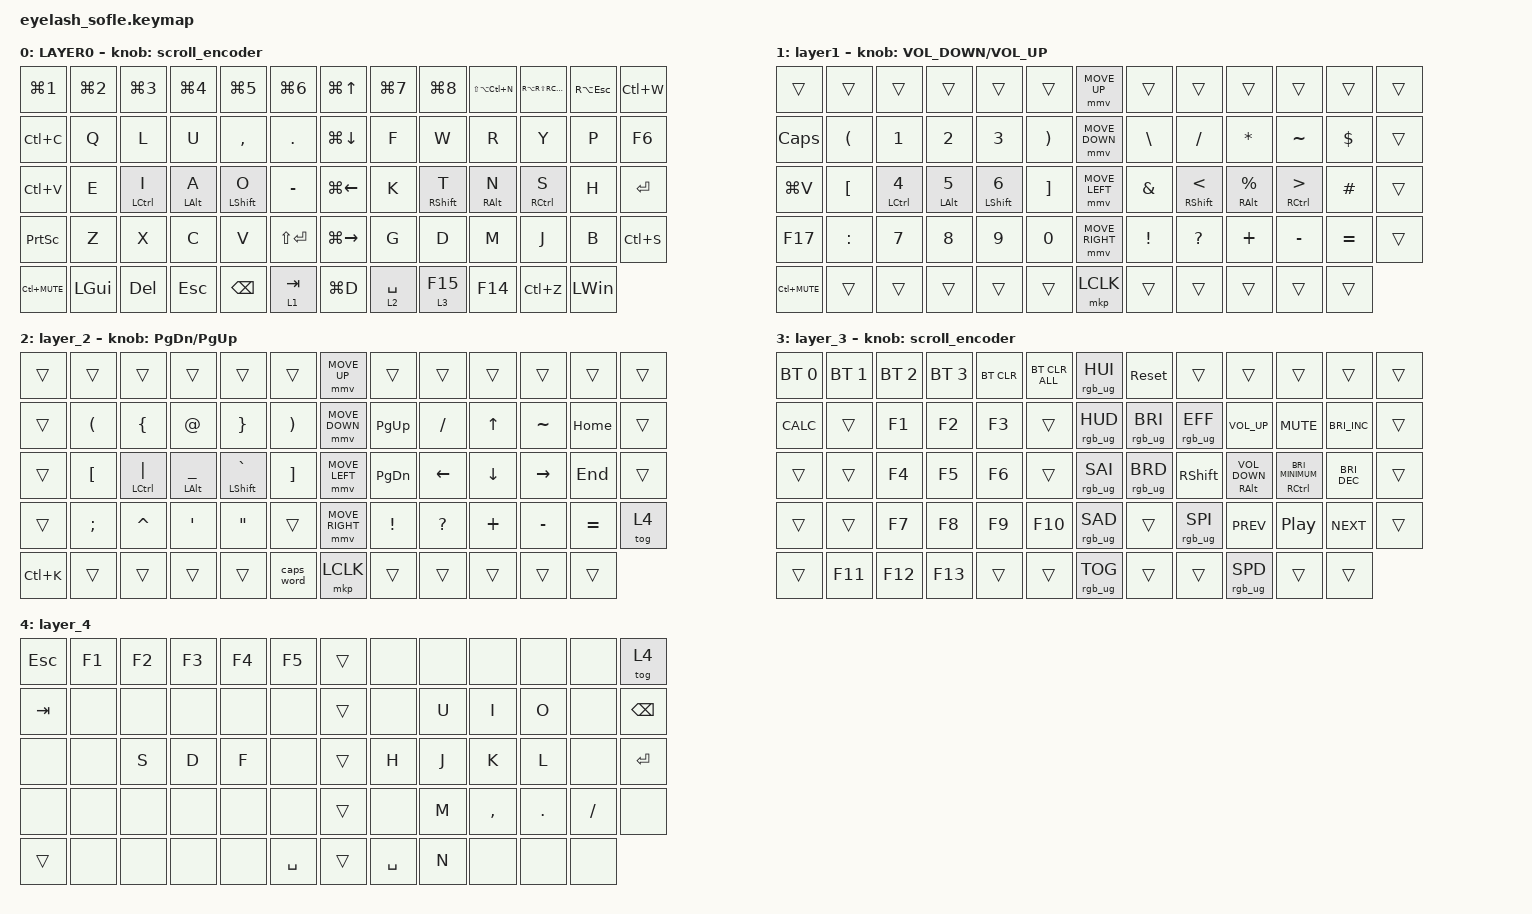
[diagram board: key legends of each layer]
#define ZMK_POINTING_DEFAULT_MOVE_VAL 1200  // 600
#define ZMK_POINTING_DEFAULT_SCRL_VAL 25   // 10

#include <input/processors.dtsi>
#include <zephyr/dt-bindings/input/input-event-codes.h>
#include <behaviors.dtsi>
#include <dt-bindings/zmk/bt.h>
#include <dt-bindings/zmk/keys.h>
#include <dt-bindings/zmk/pointing.h>
#include <dt-bindings/zmk/rgb.h>

&mmv_input_listener { input-processors = <&zip_xy_scaler 2 1>; };

&msc_input_listener { input-processors = <&zip_scroll_scaler 2 1>; };

&msc {
    acceleration-exponent = <1>;      // 0
    time-to-max-speed-ms = <100>;       // 300
    delay-ms = <0>;                   // 0
};

&mmv {
    time-to-max-speed-ms = <500>;
    acceleration-exponent = <1>;
    trigger-period-ms = <16>;
};

&mt {
    tapping-term-ms = <200>;
    flavor = "balanced";
};

&lt {
    tapping-term-ms = <250>;
    flavor = "tap-preferred";
};

/ {
    scroll_encoder: scroll_encoder {
        compatible = "zmk,behavior-sensor-rotate";
        #sensor-binding-cells = <0>;
        bindings = <&msc SCRL_DOWN>, <&msc SCRL_UP>;

        tap-ms = <100>;
    };

    caps_layer3: caps_layer3 {
        compatible = "zmk,behavior-hold-tap";
        label = "CAPS_LAYER3";
        bindings = <&mo>, <&caps_word>;

        #binding-cells = <2>;
        tapping-term-ms = <200>;
        flavor = "tap-preferred";
    };

    behaviors {
    };

    keymap {
        compatible = "zmk,keymap";

        layer0 {
            bindings = <
&kp LG(NUMBER_1)  &kp LG(NUMBER_2)  &kp LG(NUMBER_3)    &kp LG(NUMBER_4)  &kp LG(N5)        &kp LG(NUMBER_6)    &kp LG(UP)           &kp LG(N7)   &kp LG(N8)         &kp LS(LA(LC(N)))  &kp RA(RS(RC(H)))    &kp RA(ESC)   &kp LC(W)
&kp LC(C)         &kp Q             &kp L               &kp U             &kp COMMA         &kp PERIOD          &kp LG(DOWN)         &kp F        &kp W              &kp R              &kp Y                &kp P         &kp F6
&kp LC(V)         &kp E             &mt LEFT_CONTROL I  &mt LEFT_ALT A    &mt LEFT_SHIFT O  &kp MINUS           &kp LG(LEFT_ARROW)   &kp K        &mt RIGHT_SHIFT T  &mt RIGHT_ALT N    &mt RIGHT_CONTROL S  &kp H         &kp ENTER
&kp PRINTSCREEN   &kp Z             &kp X               &kp C             &kp V             &kp LS(ENTER)       &kp LG(RIGHT_ARROW)  &kp G        &kp D              &kp M              &kp J                &kp B         &kp LC(S)
&kp LC(C_MUTE)    &kp LEFT_GUI      &kp DELETE          &kp ESC           &kp BACKSPACE     &lt 1 TAB           &kp LG(D)            &lt 2 SPACE  &lt 3 F15          &kp F14            &kp LC(Z)            &kp LEFT_WIN
            >;

            sensor-bindings = <&scroll_encoder>;
            display-name = "LAYER0";
        };

        layer_1 {
            bindings = <
&trans          &trans                &trans                     &trans           &trans                   &trans                   &mmv MOVE_UP     &trans           &trans                     &trans                 &trans                          &trans      &trans
&kp CAPS        &kp LEFT_PARENTHESIS  &kp NUMBER_1               &kp NUMBER_2     &kp NUMBER_3             &kp RIGHT_PARENTHESIS    &mmv MOVE_DOWN   &kp BACKSLASH    &kp SLASH                  &kp ASTERISK           &kp TILDE                       &kp DOLLAR  &trans
&kp LG(V)       &kp LEFT_BRACKET      &mt LEFT_CONTROL NUMBER_4  &mt LEFT_ALT N5  &mt LEFT_SHIFT NUMBER_6  &kp RIGHT_BRACKET        &mmv MOVE_LEFT   &kp AMPERSAND    &mt RIGHT_SHIFT LESS_THAN  &mt RIGHT_ALT PERCENT  &mt RIGHT_CONTROL GREATER_THAN  &kp HASH    &trans
&kp F17         &kp COLON             &kp N7                     &kp N8           &kp N9                   &kp N0                   &mmv MOVE_RIGHT  &kp EXCLAMATION  &kp QUESTION               &kp PLUS               &kp MINUS                       &kp EQUAL   &trans
&kp LC(C_MUTE)  &trans                &trans                     &trans           &trans                   &trans                   &mkp LCLK        &trans           &trans                     &trans                 &trans                          &trans
            >;

            display-name = "layer1";
            sensor-bindings = <&inc_dec_kp K_VOLUME_DOWN K_VOLUME_UP>;
        };

        layer_2 {
            bindings = <
&trans     &trans                &trans                 &trans                   &trans                &trans                   &mmv MOVE_UP     &trans           &trans          &trans          &trans           &trans     &trans
&trans     &kp LEFT_PARENTHESIS  &kp LEFT_BRACE         &kp AT_SIGN              &kp RIGHT_BRACE       &kp RIGHT_PARENTHESIS    &mmv MOVE_DOWN   &kp PAGE_UP      &kp SLASH       &kp UP_ARROW    &kp TILDE        &kp HOME   &trans
&trans     &kp LEFT_BRACKET      &mt LEFT_CONTROL PIPE  &mt LEFT_ALT UNDERSCORE  &mt LEFT_SHIFT GRAVE  &kp RIGHT_BRACKET        &mmv MOVE_LEFT   &kp PAGE_DOWN    &kp LEFT_ARROW  &kp DOWN_ARROW  &kp RIGHT_ARROW  &kp END    &trans
&trans     &kp SEMICOLON         &kp CARET              &kp SQT                  &kp DOUBLE_QUOTES     &trans                   &mmv MOVE_RIGHT  &kp EXCLAMATION  &kp QUESTION    &kp PLUS        &kp MINUS        &kp EQUAL  &tog 4
&kp LC(K)  &trans                &trans                 &trans                   &trans                &caps_word               &mkp LCLK        &trans           &trans          &trans          &trans           &trans
            >;

            sensor-bindings = <&inc_dec_kp PAGE_DOWN PAGE_UP>;
        };

        layer_3 {
            bindings = <
&bt BT_SEL 0  &bt BT_SEL 1  &bt BT_SEL 2  &bt BT_SEL 3  &bt BT_CLR  &bt BT_CLR_ALL    &rgb_ug RGB_HUI  &sys_reset       &trans           &trans                       &trans                                  &trans                &trans
&kp K_CALC    &trans        &kp F1        &kp F2        &kp F3      &trans            &rgb_ug RGB_HUD  &rgb_ug RGB_BRI  &rgb_ug RGB_EFF  &kp C_VOL_UP                 &kp C_MUTE                              &kp C_BRIGHTNESS_INC  &trans
&trans        &trans        &kp F4        &kp F5        &kp F6      &trans            &rgb_ug RGB_SAI  &rgb_ug RGB_BRD  &kp RIGHT_SHIFT  &mt RIGHT_ALT C_VOLUME_DOWN  &mt RIGHT_CONTROL C_BRIGHTNESS_MINIMUM  &kp C_BRIGHTNESS_DEC  &trans
&trans        &trans        &kp F7        &kp F8        &kp F9      &kp F10           &rgb_ug RGB_SAD  &trans           &rgb_ug RGB_SPI  &kp C_PREV                   &kp C_PLAY_PAUSE                        &kp C_NEXT            &trans
&trans        &kp F11       &kp F12       &kp F13       &trans      &trans            &rgb_ug RGB_TOG  &trans           &trans           &rgb_ug RGB_SPD              &trans                                  &trans
            >;

            sensor-bindings = <&scroll_encoder>;
        };

        layer_4 {
            bindings = <
&kp ESC  &kp F1  &kp F2  &kp F3  &kp F4  &kp F5       &trans  &none      &none  &none      &none       &none      &tog 4
&kp TAB  &none   &none   &none   &none   &none        &trans  &none      &kp U  &kp I      &kp O       &none      &kp BACKSPACE
&none    &none   &kp S   &kp D   &kp F   &none        &trans  &kp H      &kp J  &kp K      &kp L       &none      &kp ENTER
&none    &none   &none   &none   &none   &none        &trans  &none      &kp M  &kp COMMA  &kp PERIOD  &kp SLASH  &none
&trans   &none   &none   &none   &none   &kp SPACE    &trans  &kp SPACE  &kp N  &none      &none       &none
            >;
        };
    };
};
